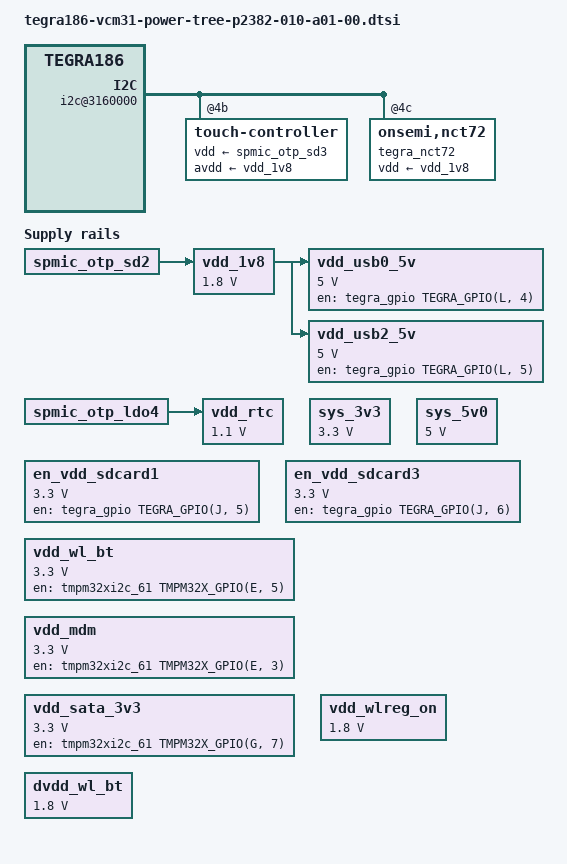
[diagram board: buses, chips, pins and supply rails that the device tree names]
/*
 * Copyright (c) 2015 - 2016, NVIDIA CORPORATION.  All rights reserved.
 *
 * This program is free software; you can redistribute it and/or modify
 * it under the terms of the GNU General Public License as published by
 * the Free Software Foundation; either version 2 of the License, or
 * (at your option) any later version.
 *
 * This program is distributed in the hope that it will be useful, but WITHOUT
 * ANY WARRANTY; without even the implied warranty of MERCHANTABILITY or
 * FITNESS FOR A PARTICULAR PURPOSE.  See the GNU General Public License for
 * more details.
 */

#include "tegra186-platforms/tegra186-vcm31-spmic-p2382-010-a01-00.dtsi"

/ {
	ether_qos@2490000 {
		vddio_sys_enet_bias-supply = <&vdd_1v8>;
		vddio_enet-supply = <&spmic_otp_sd3>;
		phy_vdd_1v8-supply = <&vdd_1v8>;
		phy_ovdd_rgmii-supply = <&spmic_otp_sd3>;
		phy_pllvdd-supply = <&spmic_otp_sd3>;
	};

        host1x {
		nvdisplay@15200000 {
			vdd_hdmi_5v0-supply = <&sys_5v0>;
			vdd-dp-pad-supply = <&spmic_otp_ldo7>;
			vdd-edp-sec-mode-supply = <&spmic_otp_ldo7>;
			vdd-dp-pwr-supply = <&sys_3v3>;
			avdd-dp-pll-supply = <&vdd_1v8>;
			avdd_dsi_csi-supply = <&spmic_otp_sd1>;
			avdd_hdmi-supply = <&spmic_otp_ldo7>;
			avdd_hdmi_pll-supply = <&vdd_1v8>;
		};
		nvdisplay@15210000 {
			vdd_hdmi_5v0-supply = <&sys_5v0>;
			vdd-dp-pad-supply = <&spmic_otp_ldo7>;
			vdd-edp-sec-mode-supply = <&spmic_otp_ldo7>;
			vdd-dp-pwr-supply = <&sys_3v3>;
			avdd-dp-pll-supply = <&vdd_1v8>;
			avdd_dsi_csi-supply = <&spmic_otp_sd1>;
			avdd_hdmi-supply = <&spmic_otp_ldo7>;
			avdd_hdmi_pll-supply = <&vdd_1v8>;
		};
		nvdisplay@15220000 {
			vdd_hdmi_5v0-supply = <&sys_5v0>;
			vdd-dp-pad-supply = <&spmic_otp_ldo7>;
			vdd-edp-sec-mode-supply = <&spmic_otp_ldo7>;
			vdd-dp-pwr-supply = <&sys_3v3>;
			avdd-dp-pll-supply = <&vdd_1v8>;
			avdd_hdmi-supply = <&spmic_otp_ldo7>;
			avdd_hdmi_pll-supply = <&vdd_1v8>;
		};
		nvcsi@150c0000 {
			nvidia,csi_regulator = "vdd";
			vdd-supply = <&spmic_otp_sd1>;
		};
        };

	sdhci@3460000 { /* SDMMC_D/4 */
		vddio_sdmmc-supply = <&vdd_1v8>;
		vddio_sd_slot-supply = <&spmic_otp_sd3>;
	};

	sdhci@3440000 {
		vddio_sdmmc-supply = <&spmic_ldo5>;
		vddio_sd_slot-supply = <&en_vdd_sdcard3>;
	};

	sdhci@3400000 {
		vddio_sdmmc-supply = <&spmic_ldo3>;
		vddio_sd_slot-supply = <&en_vdd_sdcard1>;
	};

	xhci@3530000 {
		avddio_usb-supply = <&spmic_otp_sd3>;
		avdd_pll_utmip-supply = <&vdd_1v8>;
		hvdd_usb-supply =  <&vdd_1v8>;
	};

	xudc@3550000 {
		avdd-usb-supply = <&spmic_otp_sd3>;
		dvdd-pex-supply = <&spmic_otp_ldo7>;
		hvdd-pex-supply =  <&vdd_1v8>;
		dvdd-pex-pll-supply = <&spmic_otp_ldo7>;
		hvdd-pex-pll-supply = <&vdd_1v8>;
	};

	pcie-controller@10003000 {
		dvdd-pex-supply = <&spmic_otp_ldo7>;
		hvdd-pex-pll-supply = <&vdd_1v8>;
		hvdd-pex-supply = <&vdd_1v8>;
		vddio-pexctl-aud-supply = <&vdd_1v8>;
	};

	ahci-sata@3507000 {
		target-3v3-supply = <&vdd_sata_3v3>;
	};

	pinctrl@3520000 {
		vbus-0-supply = <&vdd_usb0_5v>;
		vbus-1-supply = <&vdd_mdm>;
		vbus-2-supply = <&vdd_usb2_5v>;
		vddio-hsic-supply = <&spmic_otp_sd1>;
		hvdd_pex_pll-supply = <&vdd_1v8>;
		hvdd_pex-supply = <&vdd_1v8>;
		dvdd_pex-supply = <&spmic_otp_ldo7>;
		avdd_usb-supply = <&spmic_otp_sd3>;
		vclamp_usb-supply = <&vdd_1v8>;
		avdd_pll_erefeut-supply = <&spmic_otp_ldo0>;
	};

	i2c@3160000 { /* Tegra I2C1 - VCM I2CA */
		touch-controller@4b {
			vdd-supply = <&spmic_otp_sd3>;
			avdd-supply = <&vdd_1v8>;
		};

		tegra_nct72: onsemi,nct72@4c {
			vdd-supply = <&vdd_1v8>;
		};
	};

	pmc-iopower {
		iopower-sys-supply = <&spmic_otp_ldo6>;
		iopower-uart-supply = <&vdd_1v8>;
		iopower-conn-supply = <&vdd_1v8>;
		iopower-edp-supply = <&vdd_1v8>;
		iopower-pex-ctrl-audio-supply = <&vdd_1v8>;
		iopower-ufs-supply = <&spmic_otp_sd1>;
		iopower-ddr0-supply = <&spmic_otp_sd0>;
		iopower-ddr1-supply = <&spmic_otp_sd0>;
		iopower-csi-dsi-supply = <&spmic_otp_sd1>;
		iopower-cam-supply = <&vdd_1v8>;
		iopower-sdmmc4-supply = <&vdd_1v8>;
		iopower-audio-hv-supply = <&spmic_otp_sd3>;
		iopower-dbg-supply = <&vdd_1v8>;
		iopower-spi-supply = <&vdd_1v8>;
		iopower-ao-supply = <&spmic_otp_ldo6>;
		iopower-ao-hv-supply = <&spmic_otp_ldo2>;
		iopower-dmic-hv-supply =  <&spmic_otp_sd3>;
		iopower-sdmmc2-hv-supply = <&spmic_otp_sd3>;
		iopower-sdmmc1-hv-supply = <&spmic_ldo3>;
		iopower-sdmmc3-hv-supply =  <&spmic_ldo5>;
	};

	fixed-regulators {
		sys_3v3: regulator@0 {
			compatible = "regulator-fixed";
			reg = <0>;
			regulator-name = "sys-3v3";
			regulator-min-microvolt = <3300000>;
			regulator-max-microvolt = <3300000>;
			regulator-always-on;
		};

		sys_5v0: regulator@1 {
			compatible = "regulator-fixed";
			reg = <1>;
			regulator-name = "sys-5v0";
			regulator-min-microvolt = <5000000>;
			regulator-max-microvolt = <5000000>;
			regulator-always-on;
		};

		vdd_1v8: regulator@2 {
			compatible = "regulator-fixed-sync";
			reg = <2>;
			regulator-name = "vdd-1v8";
			regulator-min-microvolt = <1800000>;
			regulator-max-microvolt = <1800000>;
			vin-supply = <&spmic_otp_sd2>;
			regulator-always-on;
			enable-active-high;
		};

		vdd_rtc: regulator@3 {
			compatible = "regulator-fixed-sync";
			reg = <3>;
			regulator-name = "vdd-rtc";
			regulator-min-microvolt = <1100000>;
			regulator-max-microvolt = <1100000>;
			vin-supply = <&spmic_otp_ldo4>;
			regulator-always-on;
		};

		en_vdd_sdcard1: regulator@4 {
			compatible = "regulator-fixed-sync";
			reg = <4>;
			regulator-name = "en-vdd-sdcard1";
			regulator-min-microvolt = <3300000>;
			regulator-max-microvolt = <3300000>;
			gpio = <&tegra_gpio TEGRA_GPIO(J, 5) 0>;
			regulator-enable-ramp-delay = <5400>;
			regulator-disable-ramp-delay = <1000000>;
			enable-active-high;
		};

		en_vdd_sdcard3: regulator@5 {
			compatible = "regulator-fixed-sync";
			reg = <5>;
			regulator-name = "en-vdd-sdcard3";
			regulator-min-microvolt = <3300000>;
			regulator-max-microvolt = <3300000>;
			gpio = <&tegra_gpio TEGRA_GPIO(J, 6) 0>;
			regulator-enable-ramp-delay = <6000>;
			regulator-disable-ramp-delay = <1000000>;
			enable-active-high;
		};

		vdd_wl_bt: regulator@6 {
			compatible = "regulator-fixed-sync";
			reg = <6>;
			gpio = <&tmpm32xi2c_61 TMPM32X_GPIO(E, 5) 0>;
			regulator-name = "vdd_wl_bt";
			regulator-min-microvolt = <3300000>;
			regulator-max-microvolt = <3300000>;
			enable-active-high;
			regulator-enable-ramp-delay = <6400>;
			regulator-disable-ramp-delay = <66400>;
			regulator-always-on;
		};

		vdd_usb0_5v: regulator@7 {
			compatible = "regulator-fixed-sync";
			reg = <7>;
			regulator-name = "vdd-usb0-5v";
			regulator-min-microvolt = <5000000>;
			regulator-max-microvolt = <5000000>;
			gpio = <&tegra_gpio TEGRA_GPIO(L, 4) 0>;
			regulator-enable-ramp-delay = <19000>;
			regulator-disable-ramp-delay = <100000>;
			enable-active-high;
			gpio-open-drain;
			vin-supply = <&vdd_1v8>;
		};

		vdd_mdm: regulator@8 {
			compatible = "regulator-fixed-sync";
			reg = <8>;
			regulator-name = "vdd-mdm";
			regulator-min-microvolt = <3300000>;
			regulator-max-microvolt = <3300000>;
			gpio = <&tmpm32xi2c_61 TMPM32X_GPIO(E, 3) 0>;
			enable-active-high;
			gpio-open-drain;
		};

		vdd_usb2_5v: regulator@9 {
			compatible = "regulator-fixed-sync";
			reg = <9>;
			regulator-name = "vdd-usb2-5v";
			regulator-min-microvolt = <5000000>;
			regulator-max-microvolt = <5000000>;
			gpio = <&tegra_gpio TEGRA_GPIO(L, 5) 0>;
			enable-active-high;
			gpio-open-drain;
			vin-supply = <&vdd_1v8>;
		};

		vdd_sata_3v3: regulator@10 {
			compatible = "regulator-fixed-sync";
			reg = <10>;
			regulator-name = "vdd-sata-3v3";
			gpio = <&tmpm32xi2c_61 TMPM32X_GPIO(G, 7) 0>;
			regulator-min-microvolt = <3300000>;
			regulator-max-microvolt = <3300000>;
			regulator-enable-ramp-delay = <6300>;
			regulator-disable-ramp-delay = <132000>;
			enable-active-high;
			regulator-boot-on;
		};

		vdd_wlreg_on: regulator@11 {
			compatible = "regulator-fixed";
			reg = <11>;
			regulator-name = "vdd-wlreg_on";
			regulator-min-microvolt = <1800000>;
			regulator-max-microvolt = <1800000>;
			regulator-always-on;
		};

		dvdd_wl_bt: regulator@12 {
			compatible = "regulator-fixed";
			reg = <12>;
			regulator-name = "dvdd-wl_bt";
			regulator-min-microvolt = <1800000>;
			regulator-max-microvolt = <1800000>;
			regulator-always-on;
		};
	};
};
